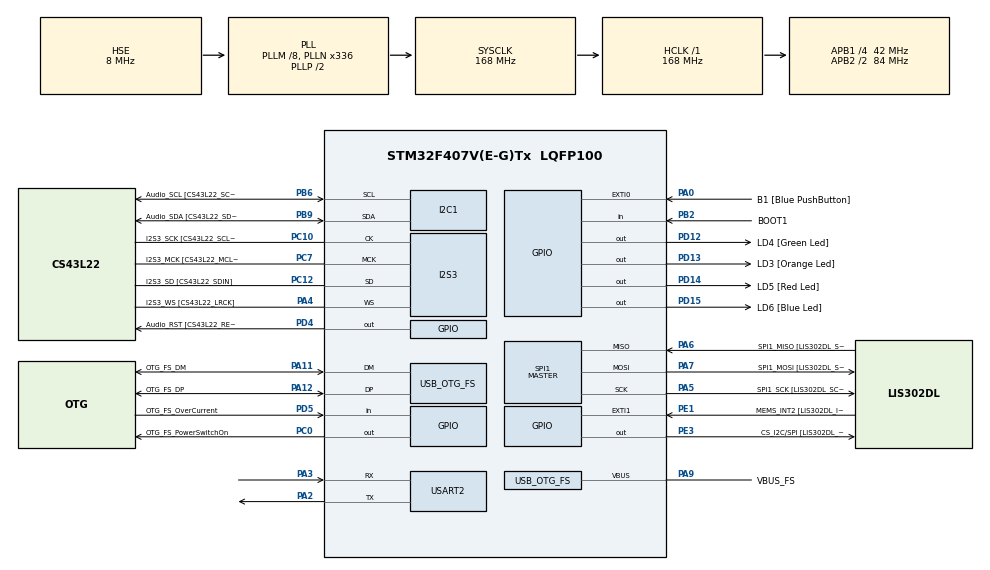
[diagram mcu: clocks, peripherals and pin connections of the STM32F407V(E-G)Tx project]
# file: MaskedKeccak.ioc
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I2S3.AudioFreq-Half_Duplex_Master=I2S_AUDIOFREQ_96K
I2S3.ErrorAudioFreq=-2.34 %
I2S3.ErrorAudioFreq-Half_Duplex_Master=0.8 %
I2S3.FullDuplexMode=I2S_FULLDUPLEXMODE_DISABLE
I2S3.Instance=SPI$Index
I2S3.RealAudioFreq=93.75 KHz
I2S3.RealAudioFreq-Half_Duplex_Master=96.774 KHz
I2S3.VirtualMode=I2S_MODE_MASTER
Mcu.Family=STM32F4
Mcu.Name=STM32F407V(E-G)Tx
Mcu.Package=LQFP100
NVIC.OTG_FS_IRQn=true\:0\:0\:false\:false\:true\:true\:true\:true
NVIC.PriorityGroup=NVIC_PRIORITYGROUP_0
PA0-WKUP.GPIO_Label=B1 [Blue PushButton]
PA0-WKUP.GPIO_ModeDefaultEXTI=GPIO_MODE_EVT_RISING
PA0-WKUP.GPIO_PuPd=GPIO_NOPULL
PA0-WKUP.Signal=GPXTI0
PA10.GPIO_Label=OTG_FS_ID
PA10.GPIO_Mode=GPIO_MODE_AF_PP
PA10.GPIO_PuPd=GPIO_NOPULL
PA10.GPIO_Speed=GPIO_SPEED_FREQ_LOW
PA10.Signal=USB_OTG_FS_ID
PA11.GPIO_Label=OTG_FS_DM
PA11.GPIO_Mode=GPIO_MODE_AF_PP
PA11.GPIO_PuPd=GPIO_NOPULL
PA11.GPIO_Speed=GPIO_SPEED_FREQ_LOW
PA11.Mode=Host_Only
PA11.Signal=USB_OTG_FS_DM
PA12.GPIO_Label=OTG_FS_DP
PA12.GPIO_Mode=GPIO_MODE_AF_PP
PA12.GPIO_PuPd=GPIO_NOPULL
PA12.GPIO_Speed=GPIO_SPEED_FREQ_LOW
PA12.Mode=Host_Only
PA12.Signal=USB_OTG_FS_DP
PA13.GPIO_Label=SWDIO
PA13.Mode=Serial_Wire
PA13.Signal=SYS_JTMS-SWDIO
PA14.GPIO_Label=SWCLK
PA14.Mode=Serial_Wire
PA14.Signal=SYS_JTCK-SWCLK
PA2.Mode=Asynchronous
PA2.Signal=USART2_TX
PA3.Mode=Asynchronous
PA3.Signal=USART2_RX
PA4.GPIO_Label=I2S3_WS [CS43L22_LRCK]
PA4.GPIO_Mode=GPIO_MODE_AF_PP
PA4.GPIO_PuPd=GPIO_NOPULL
PA4.GPIO_Speed=GPIO_SPEED_FREQ_LOW
PA4.Mode=Half_Duplex_Master
PA4.Signal=I2S3_WS
PA5.GPIO_Label=SPI1_SCK [LIS302DL_SCL/SPC]
PA5.GPIO_Mode=GPIO_MODE_AF_PP
PA5.GPIO_PuPd=GPIO_NOPULL
PA5.GPIO_Speed=GPIO_SPEED_FREQ_LOW
PA5.Mode=Full_Duplex_Master
PA5.Signal=SPI1_SCK
PA6.GPIO_Label=SPI1_MISO [LIS302DL_SDO]
PA6.GPIO_Mode=GPIO_MODE_AF_PP
PA6.GPIO_PuPd=GPIO_NOPULL
PA6.GPIO_Speed=GPIO_SPEED_FREQ_LOW
PA6.Mode=Full_Duplex_Master
PA6.Signal=SPI1_MISO
PA7.GPIO_Label=SPI1_MOSI [LIS302DL_SDA/SDI/SDO]
PA7.GPIO_Mode=GPIO_MODE_AF_PP
PA7.GPIO_PuPd=GPIO_NOPULL
PA7.GPIO_Speed=GPIO_SPEED_FREQ_LOW
PA7.Mode=Full_Duplex_Master
PA7.Signal=SPI1_MOSI
PA9.GPIO_Label=VBUS_FS
PA9.GPIO_Mode=GPIO_MODE_INPUT
PA9.GPIO_PuPd=GPIO_NOPULL
PA9.Mode=Activate_VBUS
PA9.Signal=USB_OTG_FS_VBUS
PB10.GPIO_Label=CLK_IN [MP45DT02_CLK]
PB10.GPIO_Mode=GPIO_MODE_AF_PP
PB10.GPIO_PuPd=GPIO_NOPULL
PB10.GPIO_Speed=GPIO_SPEED_FREQ_LOW
PB10.Signal=I2S2_CK
PB2.GPIO_Label=BOOT1
PB2.GPIO_Mode=GPIO_MODE_INPUT
PB2.GPIO_PuPd=GPIO_NOPULL
PB2.Signal=GPIO_Input
PB3.GPIO_Label=SWO
PB3.Signal=SYS_JTDO-SWO
PB6.GPIO_Label=Audio_SCL [CS43L22_SCL]
PB6.GPIO_Mode=GPIO_MODE_AF_OD
PB6.GPIO_Pu=GPIO_PULLUP
PB6.GPIO_PuPd=GPIO_NOPULL
PB6.GPIO_Speed=GPIO_SPEED_FREQ_LOW
PB6.Mode=I2C
PB6.Signal=I2C1_SCL
PB9.GPIO_Label=Audio_SDA [CS43L22_SDA]
PB9.GPIO_Mode=GPIO_MODE_AF_OD
PB9.GPIO_Pu=GPIO_PULLUP
PB9.GPIO_PuPd=GPIO_NOPULL
PB9.GPIO_Speed=GPIO_SPEED_FREQ_LOW
PB9.Mode=I2C
PB9.Signal=I2C1_SDA
PC0.GPIO_Label=OTG_FS_PowerSwitchOn
PC0.GPIO_PuPd=GPIO_NOPULL
PC0.GPIO_Speed=GPIO_SPEED_FREQ_LOW
PC0.PinState=GPIO_PIN_SET
PC0.Signal=GPIO_Output
PC10.GPIO_Label=I2S3_SCK [CS43L22_SCLK]
PC10.GPIO_Mode=GPIO_MODE_AF_PP
PC10.GPIO_PuPd=GPIO_NOPULL
PC10.GPIO_Speed=GPIO_SPEED_FREQ_LOW
PC10.Mode=Half_Duplex_Master
PC10.Signal=I2S3_CK
PC12.GPIO_Label=I2S3_SD [CS43L22_SDIN]
PC12.GPIO_Mode=GPIO_MODE_AF_PP
PC12.GPIO_PuPd=GPIO_NOPULL
PC12.GPIO_Speed=GPIO_SPEED_FREQ_LOW
PC12.Mode=Half_Duplex_Master
PC12.Signal=I2S3_SD
PC14-OSC32_IN.GPIO_Label=PC14-OSC32_IN
PC14-OSC32_IN.Mode=LSE-External-Oscillator
PC14-OSC32_IN.Signal=RCC_OSC32_IN
PC15-OSC32_OUT.GPIO_Label=PC15-OSC32_OUT
PC15-OSC32_OUT.Mode=LSE-External-Oscillator
PC15-OSC32_OUT.Signal=RCC_OSC32_OUT
PC3.GPIO_Label=PDM_OUT [MP45DT02_DOUT]
PC3.GPIO_Mode=GPIO_MODE_AF_PP
PC3.GPIO_PuPd=GPIO_NOPULL
PC3.GPIO_Speed=GPIO_SPEED_FREQ_LOW
PC3.Signal=I2S2_SD
PC7.GPIO_Label=I2S3_MCK [CS43L22_MCLK]
PC7.GPIO_Mode=GPIO_MODE_AF_PP
PC7.GPIO_PuPd=GPIO_NOPULL
PC7.GPIO_Speed=GPIO_SPEED_FREQ_LOW
PC7.Mode=Master_Clock_Activated
PC7.Signal=I2S3_MCK
PD12.GPIO_Label=LD4 [Green Led]
PD12.GPIO_PuPd=GPIO_NOPULL
PD12.GPIO_Speed=GPIO_SPEED_FREQ_LOW
PD12.Signal=GPIO_Output
PD13.GPIO_Label=LD3 [Orange Led]
PD13.GPIO_PuPd=GPIO_NOPULL
PD13.GPIO_Speed=GPIO_SPEED_FREQ_LOW
PD13.Signal=GPIO_Output
PD14.GPIO_Label=LD5 [Red Led]
PD14.GPIO_PuPd=GPIO_NOPULL
PD14.GPIO_Speed=GPIO_SPEED_FREQ_LOW
PD14.Signal=GPIO_Output
PD15.GPIO_Label=LD6 [Blue Led]
PD15.GPIO_PuPd=GPIO_NOPULL
PD15.GPIO_Speed=GPIO_SPEED_FREQ_LOW
PD15.Signal=GPIO_Output
PD4.GPIO_Label=Audio_RST [CS43L22_RESET]
PD4.GPIO_PuPd=GPIO_NOPULL
PD4.GPIO_Speed=GPIO_SPEED_FREQ_LOW
PD4.Signal=GPIO_Output
PD5.GPIO_Label=OTG_FS_OverCurrent
PD5.GPIO_Mode=GPIO_MODE_INPUT
PD5.GPIO_PuPd=GPIO_NOPULL
PD5.Signal=GPIO_Input
PE1.GPIO_Label=MEMS_INT2 [LIS302DL_INT2]
PE1.GPIO_ModeDefaultEXTI=GPIO_MODE_EVT_RISING
PE1.GPIO_PuPd=GPIO_NOPULL
PE1.Signal=GPXTI1
PE3.GPIO_Label=CS_I2C/SPI [LIS302DL_CS_I2C/SPI]
PE3.GPIO_PuPd=GPIO_NOPULL
PE3.GPIO_Speed=GPIO_SPEED_FREQ_LOW
PE3.Signal=GPIO_Output
PH0-OSC_IN.GPIO_Label=PH0-OSC_IN
PH0-OSC_IN.Mode=HSE-External-Oscillator
PH0-OSC_IN.Signal=RCC_OSC_IN
PH1-OSC_OUT.GPIO_Label=PH1-OSC_OUT
PH1-OSC_OUT.Mode=HSE-External-Oscillator
PH1-OSC_OUT.Signal=RCC_OSC_OUT
ProjectManager.HeapSize=0x200
ProjectManager.StackSize=0x400
ProjectManager.TargetToolchain=STM32CubeIDE
RCC.48MHZClocksFreq_Value=48000000
RCC.AHBFreq_Value=168000000
RCC.APB1CLKDivider=RCC_HCLK_DIV4
RCC.APB1Freq_Value=42000000
RCC.APB1TimFreq_Value=84000000
RCC.APB2CLKDivider=RCC_HCLK_DIV2
RCC.APB2Freq_Value=84000000
RCC.APB2TimFreq_Value=168000000
RCC.CortexFreq_Value=168000000
RCC.HCLKFreq_Value=168000000
RCC.HSE_VALUE=8000000
RCC.HSI_VALUE=16000000
RCC.PLLM=8
RCC.PLLN=336
RCC.PLLQ=7
RCC.SYSCLKFreq_VALUE=168000000
RCC.SYSCLKSource=RCC_SYSCLKSOURCE_PLLCLK
RCC.VCOOutputFreq_Value=336000000
SPI1.BaudRatePrescaler-Full_Duplex_Master=SPI_BAUDRATEPRESCALER_2
SPI1.CalculateBaudRate-Full_Duplex_Master=42.0 MBits/s
SPI1.Direction=SPI_DIRECTION_2LINES
SPI1.Mode=SPI_MODE_MASTER
SPI1.Mode-Full_Duplex_Master=SPI_MODE_MASTER
SPI1.VirtualType=VM_MASTER
USART2.VirtualMode=VM_ASYNC
USB_HOST.BSP.number=1
USB_HOST.USBH_HandleTypeDef-CDC_FS=hUsbHostFS
USB_HOST.VirtualModeFS=Cdc
USB_HOST0.BSP.STBoard=false
USB_HOST0.BSP.api=Unknown
USB_HOST0.BSP.instance=PC0
USB_HOST0.BSP.ip=GPIO
USB_HOST0.BSP.mode=Output
USB_HOST0.BSP.name=Drive_VBUS_FS
USB_HOST0.BSP.solution=PC0
USB_OTG_FS.VirtualMode=Host_Only
USB_OTG_FS.phy_itface=HCD_PHY_EMBEDDED
VP_RNG_VS_RNG.Mode=RNG_Activate
VP_USB_HOST_VS_USB_HOST_CDC_FS.Mode=CDC_FS
board=STM32F407G-DISC1

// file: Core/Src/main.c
/* USER CODE BEGIN Header */
/**
  ******************************************************************************
  * @file           : main.c
  * @brief          : Main program body
  ******************************************************************************
  * @attention
  *
  * Copyright (c) 2025 STMicroelectronics.
  * All rights reserved.
  *
  * This software is licensed under terms that can be found in the LICENSE file
  * in the root directory of this software component.
  * If no LICENSE file comes with this software, it is provided AS-IS.
  *
  ******************************************************************************
  */
/* USER CODE END Header */
#include "main.h"
#include "usb_host.h"
extern const uint64_t RC[24];

/* USER CODE BEGIN Includes */
#include "global_rng.h"
#include <string.h>
#include <stdio.h>
#include "masked_gadgets.h"
#include "keccak.h"
#include "sha_shake.h"
#include "test.h"
#include "global_rng.h"
/* USER CODE END Includes */

I2C_HandleTypeDef hi2c1;

I2S_HandleTypeDef hi2s3;

RNG_HandleTypeDef hrng;

SPI_HandleTypeDef hspi1;

UART_HandleTypeDef huart2;

void SystemClock_Config(void);
static void MX_GPIO_Init(void);
static void MX_I2C1_Init(void);
static void MX_I2S3_Init(void);
static void MX_SPI1_Init(void);
static void MX_RNG_Init(void);
static void MX_USART2_UART_Init(void);
void MX_USB_HOST_Process(void);

/* USER CODE BEGIN PFP */
int _write(int file, char *ptr, int len) {
    HAL_UART_Transmit(&huart2, (uint8_t*) ptr, len, HAL_MAX_DELAY);
    return len;
}

/* USER CODE END PFP */

/* USER CODE BEGIN 0 */
void print_hex(const char *label, const uint8_t *data, size_t len) {
    printf("%s: ", label);
    for (size_t i = 0; i < len; i++) {
        printf("%02X", data[i]);
    }
    printf("\n");
}

void print_masked_hex(const char *label, uint8_t data[64][MASKING_N]) {
    printf("%s: ", label);
    for (int i = 0; i < 64; i++) {
        uint8_t acc = data[i][0];
        for (int j = 1; j < MASKING_N; j++) {
            acc ^= data[i][j];
        }
        printf("%02X", acc);
    }
    printf("\n");
}
void print_u64(uint64_t val) {
    for (int i = 60; i >= 0; i -= 4) {
        uint8_t nibble = (val >> i) & 0xF;
        char c = (nibble < 10) ? ('0' + nibble) : ('A' + nibble - 10);
        HAL_UART_Transmit(&huart2, (uint8_t*)&c, 1, HAL_MAX_DELAY);
    }
    char newline = '\n';
    HAL_UART_Transmit(&huart2, (uint8_t*)&newline, 1, HAL_MAX_DELAY);
}

void fill_masked_state(masked_uint64_t dst[5][5], const uint64_t ref[25]) {
    for (int y = 0; y < 5; ++y) {
        for (int x = 0; x < 5; ++x) {
            uint64_t val = ref[y * 5 + x];
            uint64_t t = val;
            for (int i = 1; i < MASKING_N; ++i) {
                dst[x][y].share[i] = get_random64();
                t ^= dst[x][y].share[i];
            }
            dst[x][y].share[0] = t;
        }
    }
}

void fill_masked_state_arithmetic(masked_uint64_t dst[5][5], const uint64_t src[25]) {
    for (int y = 0; y < 5; ++y) {
        for (int x = 0; x < 5; ++x) {
            uint64_t acc = src[y * 5 + x];

            // Generate MASKING_N - 1 random shares
            for (int i = 0; i < MASKING_N - 1; ++i) {
                dst[x][y].share[i] = get_random64();
                acc -= dst[x][y].share[i];
            }

            // Last share ensures additive sum equals original value
            dst[x][y].share[MASKING_N - 1] = acc;
        }
    }
}

void recombine_masked_state(uint64_t dst[25], const masked_uint64_t src[5][5]) {
    for (int y = 0; y < 5; ++y)
        for (int x = 0; x < 5; ++x) {
            uint64_t val = 0;
            for (int i = 0; i < MASKING_N; ++i)
                val ^= src[x][y].share[i];
            dst[y * 5 + x] = val;
        }
}

void recombine_masked_state_arithmetic(uint64_t dst[25], const masked_uint64_t src[5][5]) {
    for (int y = 0; y < 5; ++y)
        for (int x = 0; x < 5; ++x) {
            uint64_t val = 0;
            for (int i = 0; i < MASKING_N; ++i)
                val += src[x][y].share[i];  // arithmetic recombination
            dst[y * 5 + x] = val;
        }
}

void print_diff(const char *label, const uint64_t *ref, const uint64_t *masked) {
    int fail = 0;
    for (int i = 0; i < 25; ++i) {
        if (ref[i] != masked[i]) {
            uint32_t rh = ref[i] >> 32, rl = ref[i] & 0xFFFFFFFF;
            uint32_t mh = masked[i] >> 32, ml = masked[i] & 0xFFFFFFFF;
            printf("Mismatch %s[%d]: ref = %08lX%08lX, masked = %08lX%08lX\n",
                   label, i,
                   (unsigned long)rh, (unsigned long)rl,
                   (unsigned long)mh, (unsigned long)ml);
            fail++;
        }
    }
    if (fail == 0) {
        printf("SUCCESS: %s output matched reference.\n", label);
    }
}

void test_masked_vs_reference_step_by_step(void) {
    // === 1. Initial state setup ===
    uint64_t ref_state[25];
    for (int i = 0; i < 25; i++)
        ref_state[i] = i * 0x0F0F0F0F0F0F0F0FULL;

    masked_uint64_t masked_state[5][5];
    fill_masked_state(masked_state, ref_state);

    uint64_t tmp_ref[25], tmp_masked[25];

    // === 2. THETA ===
    memcpy(tmp_ref, ref_state, sizeof(ref_state));
    theta(tmp_ref);

    masked_theta(masked_state);
    recombine_masked_state(tmp_masked, masked_state);
    print_diff("THETA", tmp_ref, tmp_masked);

    // === 3. RHO ===
    memcpy(tmp_ref, tmp_masked, sizeof(tmp_masked)); // set ref = masked out
    rho(tmp_ref);

    masked_rho(masked_state);
    recombine_masked_state(tmp_masked, masked_state);
    print_diff("RHO", tmp_ref, tmp_masked);

    // === 4. PI ===
    memcpy(tmp_ref, tmp_masked, sizeof(tmp_masked));
    pi(tmp_ref);

    masked_pi(masked_state);
    recombine_masked_state(tmp_masked, masked_state);
    print_diff("PI", tmp_ref, tmp_masked);

    int round_idx = 0;
    // === 5. CHI ===
    // === 5. CHI ===
    memcpy(tmp_ref, tmp_masked, sizeof(tmp_masked));
    chi(tmp_ref);

    uint64_t r_chi[5][5][MASKING_N][MASKING_N];
    for (int y = 0; y < 5; ++y)
        for (int x = 0; x < 5; ++x)
            fill_random_matrix(r_chi[x][y]);

    masked_uint64_t chi_out[5][5];
    masked_chi(chi_out, masked_state, r_chi);

    // === 6. IOTA ===
    // Apply IOTA to both the reference and the masked CHI result
    iota(tmp_ref, round_idx);
    masked_iota(chi_out, RC[round_idx]);

    // Recombine the masked state AFTER both steps
    recombine_masked_state(tmp_masked, chi_out);

    // Compare both sides now that they're at the same stage
    print_diff("IOTA", tmp_ref, tmp_masked);

}

void test_masked_vs_reference_step_by_step_arithmetic(void) {
    // === 1. Initial state setup ===
    uint64_t ref_state[25];
    for (int i = 0; i < 25; i++)
        ref_state[i] = i * 0x0F0F0F0F0F0F0F0FULL;

    masked_uint64_t masked_state[5][5];
    fill_masked_state_arithmetic(masked_state, ref_state);

    uint64_t tmp_ref[25], tmp_masked[25];

    // === 2. THETA ===
    memcpy(tmp_ref, ref_state, sizeof(ref_state));
    theta(tmp_ref);

    masked_theta_arithmetic(masked_state);
    recombine_masked_state_arithmetic(tmp_masked, masked_state);
    print_diff("THETA-ARITH", tmp_ref, tmp_masked);

    // === 3. RHO ===
    memcpy(tmp_ref, tmp_masked, sizeof(tmp_masked));
    rho(tmp_ref);

    masked_rho_arithmetic(masked_state);
    recombine_masked_state_arithmetic(tmp_masked, masked_state);
    print_diff("RHO-ARITH", tmp_ref, tmp_masked);

    // === 4. PI ===
    memcpy(tmp_ref, tmp_masked, sizeof(tmp_masked));
    pi(tmp_ref);

    masked_pi_arithmetic(masked_state);
    recombine_masked_state_arithmetic(tmp_masked, masked_state);
    print_diff("PI-ARITH", tmp_ref, tmp_masked);

    int round_idx = 0;

    // === 5. CHI ===
    memcpy(tmp_ref, tmp_masked, sizeof(tmp_masked));
    chi(tmp_ref);

    uint64_t r_chi[5][5][MASKING_N][MASKING_N];
    for (int y = 0; y < 5; ++y)
        for (int x = 0; x < 5; ++x)
            fill_random_matrix(r_chi[x][y]);

    masked_uint64_t chi_out[5][5];
    masked_chi_arithmetic(chi_out, masked_state, r_chi);

    // === 6. IOTA ===
    iota(tmp_ref, round_idx);
    masked_iota_arithmetic(chi_out, RC[round_idx]);

    recombine_masked_state_arithmetic(tmp_masked, chi_out);
    print_diff("IOTA-ARITH", tmp_ref, tmp_masked);
}

static void masked_round(masked_uint64_t S[5][5],
                         int r,
                         uint64_t Rchi[5][5][MASKING_N][MASKING_N])
{
    masked_theta(S);
    masked_rho  (S);
    masked_pi   (S);
    uint64_t r_chi[5][5][MASKING_N][MASKING_N];
      for (int y = 0; y < 5; ++y)
          for (int x = 0; x < 5; ++x)
              fill_random_matrix(r_chi[x][y]);

      masked_uint64_t chi_out[5][5];
      masked_chi(chi_out, S, r_chi);
      masked_iota (chi_out, RC[r]);

      for (int y = 0; y < 5; ++y)
          for (int x = 0; x < 5; ++x)
              S[x][y] = chi_out[x][y];
}

static void reference_round(uint64_t *A, int r)
{
    theta(A);
    rho  (A);
    pi   (A);
    chi  (A);
    iota (A, r);
}

void test_full_keccak_rounds(void)
{
    /* --- 1. fresh deterministic state -------------------------------- */
    uint64_t ref[25];
    for (int i=0;i<25;i++)
        ref[i] = 0x1111111111111111ULL * (i+1);   /* any pattern is fine */

    masked_uint64_t mstate[5][5];
    fill_masked_state(mstate, ref);

    /* --- 2. run every round ------------------------------------------ */
    for (int r = 0; r < 24; ++r) {

        /* randomness for χ – new every round, every lane --------------- */
        uint64_t Rchi[5][5][MASKING_N][MASKING_N];
        for (int y = 0; y < 5; ++y)
            for (int x = 0; x < 5; ++x)
                fill_random_matrix(Rchi[x][y]);

        reference_round(ref, r);
        masked_round(mstate, r, Rchi);

        uint64_t recon[25];
        recombine_masked_state(recon, mstate);

        /* --- 3. compare lane by lane --------------------------------- */
        int fail = 0;
        for (int i = 0; i < 25; ++i) {
            if (recon[i] != ref[i]) {
                printf("Round %2d lane %2d : ref=%016llX  mask=%016llX\n",
                       r, i,
                       (unsigned long long)ref[i],
                       (unsigned long long)recon[i]);
                fail = 1;
            }
        }
        if (fail) {
            printf("✗ round %d FAILED – stop early\n\n", r);
            return;
        }
    }

    printf("✓ all 24 masked rounds match reference Keccak-F[1600]\n");
}
void test_masked_keccak_round_arithmetic_vs_reference(void) {
    // === 1. Setup known input ===
    uint64_t ref_state[25];
    for (int i = 0; i < 25; i++)
        ref_state[i] = i * 0x0101010101010101ULL;

    masked_uint64_t masked_state[5][5];
    fill_masked_state_arithmetic(masked_state, ref_state);

    uint64_t tmp_ref[25], tmp_masked[25];

    // === 2. Apply reference round ===
    memcpy(tmp_ref, ref_state, sizeof(ref_state));
    theta(tmp_ref);
    rho(tmp_ref);
    pi(tmp_ref);
    chi(tmp_ref);
    iota(tmp_ref, 0);

    // === 3. Apply masked round (additive domain) ===
    masked_keccak_round_arithmetic(masked_state, RC[0]);
    recombine_masked_state_arithmetic(tmp_masked, masked_state);

    // === 4. Compare ===
    print_diff("Keccak-Round-Arithmetic", tmp_ref, tmp_masked);
}

void test_masked_keccak_round_vs_reference(void) {
    // === 1. Setup known input ===
    uint64_t ref_state[25];
    for (int i = 0; i < 25; i++)
        ref_state[i] = i * 0x0101010101010101ULL;

    masked_uint64_t masked_state[5][5];
    fill_masked_state(masked_state, ref_state);

    uint64_t tmp_ref[25], tmp_masked[25];

    // === 2. Apply reference round ===
    memcpy(tmp_ref, ref_state, sizeof(ref_state));
    theta(tmp_ref);
    rho(tmp_ref);
    pi(tmp_ref);
    chi(tmp_ref);
    iota(tmp_ref, 0);

    // === 3. Apply masked round ===
    masked_keccak_round(masked_state, RC[0]);
    recombine_masked_state(tmp_masked, masked_state);

    // === 4. Compare ===
    print_diff("Keccak-Round", tmp_ref, tmp_masked);
}
extern int TWOFIVESIX(uint8_t* M, int l, uint8_t* O);
extern int FIVEONETWO(uint8_t* M, int l, uint8_t* O);

void test_masked_vs_reference_sha3_256(void) {
    const char *msg = "Masked Keccak Test Vector: SHA3-256";
    size_t len = strlen(msg);

    uint8_t ref_out[32];
    uint8_t masked_out[32];

    // Call reference implementation
    TWOFIVESIX((uint8_t *)msg, (int)len, ref_out);

    // Call masked implementation
    masked_sha3_256(masked_out, (const uint8_t *)msg, len);

    // Compare output
    for (int i = 0; i < 32; ++i) {
        if (ref_out[i] != masked_out[i]) {
            printf("Mismatch SHA3-256 byte[%d]: ref=0x%02X, masked=0x%02X\n",
                   i, ref_out[i], masked_out[i]);
            assert(0);
        }
    }
    printf("PASS: SHA3-256 masked output matches reference\n");
}

void test_masked_vs_reference_sha3_512(void) {
    const char *msg = "Masked Keccak Test Vector: SHA3-512";
    size_t len = strlen(msg);

    uint8_t ref_out[64];
    uint8_t masked_out[64];

    // Call reference implementation
    FIVEONETWO((uint8_t *)msg, (int)len, ref_out);

    // Call masked implementation
    masked_sha3_512(masked_out, (const uint8_t *)msg, len);

    for (int i = 0; i < 64; ++i) {
        if (ref_out[i] != masked_out[i]) {
            printf("Mismatch SHA3-512 byte[%d]: ref=0x%02X, masked=0x%02X\n",
                   i, ref_out[i], masked_out[i]);
            assert(0);
        }
    }
    printf("PASS: SHA3-512 masked output matches reference\n");
}

void boolean_mask(uint64_t out[MASKING_N], uint64_t value) {
    uint64_t tmp = value;
    for (int i = 0; i < MASKING_N - 1; i++) {
        out[i] = get_random64();  // MUST produce unique value each time
        tmp ^= out[i];
    }
    out[MASKING_N - 1] = tmp;  // Final share fixes the XOR
}

void refresh_xor_partial(uint64_t *shares, size_t n) {
    uint64_t acc = 0;
    for (size_t i = 0; i < n - 1; i++) {
        uint64_t r = get_random64();
        shares[i] ^= r;
        acc ^= r;
    }
    shares[n - 1] ^= acc;
}

void refresh_xor(uint64_t shares[MASKING_N]) {
    uint64_t before = 0;
    for (int i = 0; i < MASKING_N; i++) {
        before ^= shares[i];
    }

    uint64_t acc = 0;
    for (int i = 0; i < MASKING_N - 1; i++) {
        uint64_t r = get_random64();
        shares[i] ^= r;
        acc ^= r;
    }
    shares[MASKING_N - 1] ^= acc;

    uint64_t after = 0;
    for (int i = 0; i < MASKING_N; i++) {
        after ^= shares[i];
    }

    if (before != after) {
        // Print and hard fail
        printf("!!! refresh_xor broke the XOR !!!\n");
        printf("Before: %lu, After: %lu\n", (uint32_t)before, (uint32_t)after);
        for (int i = 0; i < MASKING_N; i++) {
            printf("shares[%d] = %lu\n", i, (uint32_t)shares[i]);
        }
        while (1);
    }
}

void test_refresh_xor(uint64_t x) {
    uint64_t shares[MASKING_N];
    boolean_mask(shares, x);

    printf("Before refresh:\n");
    for (int i = 0; i < MASKING_N; i++) printf("  [%d] = %lu\n", i, shares[i]);

    refresh_xor(shares);

    uint64_t recovered = 0;
    for (int i = 0; i < MASKING_N; i++) {
        recovered ^= shares[i];
    }

    printf("After refresh:\n");
    for (int i = 0; i < MASKING_N; i++) printf("  [%d] = %lu\n", i, shares[i]);

    printf("Recovered after refresh: 0x%08lx%08lx\n",
           (uint32_t)(recovered >> 32),
           (uint32_t)(recovered & 0xFFFFFFFF));

}
void SecAddModp(uint64_t out[MASKING_N],
                const uint64_t a[MASKING_N],
                const uint64_t b[MASKING_N],
                uint64_t q) {
    if (q == 0) {
        while (1) {}  // hard fault: invalid modulus
    }

    uint64_t x = 0, y_val = 0;
    for (int i = 0; i < MASKING_N; i++) {
        x ^= a[i];
        y_val ^= b[i];
    }

    uint64_t result = (x + y_val) % q;
    boolean_mask(out, result);
}

void test_sec_add_modp(uint64_t x, uint64_t y, uint64_t q) {
    uint64_t a[MASKING_N], b[MASKING_N], result[MASKING_N];

    boolean_mask(a, x);
    boolean_mask(b, y);

    SecAddModp(result, a, b, q);

    uint64_t recovered = 0;
    for (int i = 0; i < MASKING_N; i++) {
        recovered ^= result[i];
    }

    printf("x = %lu, y = %lu, (x+y mod %lu) = %lu\n",
           (uint32_t)x, (uint32_t)y, (uint32_t)q, (uint32_t)recovered);

}

void test_boolean_mask(uint64_t x) {
    uint64_t shares[MASKING_N];
    boolean_mask(shares, x);

    uint64_t recovered = 0;
    for (int i = 0; i < MASKING_N; i++) {
        recovered ^= shares[i];
    }

    printf("Original: %lu, Recovered: %lu\n", x, recovered);
}

void SecA2Bq_debug(uint64_t *out, const uint64_t *in, size_t n, uint64_t q) {
    if (n == 1) {
        out[0] = in[0] % q;
        for (size_t i = 1; i < MASKING_N; i++) out[i] = 0;
        return;
    }

    size_t half = n / 2;

    uint64_t y[MASKING_N] = {0};
    uint64_t z[MASKING_N] = {0};

    SecA2Bq_debug(y, in, half, q);
    SecA2Bq_debug(z, in + half, n - half, q);

    refresh_xor_partial(y, half);
    refresh_xor_partial(z, n - half);

    SecAddModp(out, y, z, q);
}

void test_SecA2Bq(uint64_t x, uint64_t q) {
    masked_uint64_t A = {0};
    uint64_t result[MASKING_N] = {0};

    // Create arithmetic sharing of x mod q
    uint64_t sum = 0;
    for (int i = 0; i < MASKING_N - 1; i++) {
        A.share[i] = get_random64() % q;
        sum = (sum + A.share[i]) % q;
    }
    A.share[MASKING_N - 1] = (x + q - sum) % q;

    // ✅ Call SecA2Bq_debug with correct arguments
    SecA2Bq_debug(result, A.share, MASKING_N, q);

    // Recombine Boolean result
    uint64_t recombined = 0;
    for (int i = 0; i < MASKING_N; i++) {
        recombined ^= result[i];
    }

    // Check result
    if (recombined != (x % q)) {
        printf("FAIL: A2B x = %lu, recovered = %lu\n", (uint32_t)x, (uint32_t)recombined);
        while (1);
    } else {
        printf("PASS: A2B x = %lu\n", (uint32_t)x);
    }
}

void SecB2Aq(uint64_t *out, const uint64_t *in, size_t n, uint64_t q) {
    // Recombine Boolean value
    uint64_t x = in[0];
    for (size_t i = 1; i < n; i++) {
        x ^= in[i];  // Full 64-bit XOR
    }

    x = x % q;  // Properly reduce into F_q

    // Generate additive shares of x in F_q
    uint64_t sum = 0;
    for (size_t i = 0; i < n - 1; i++) {
        out[i] = get_random64() % q;
        sum = (sum + out[i]) % q;
    }
    out[n - 1] = (x + q - sum) % q;
}

void test_SecB2Aq(uint64_t x, uint64_t q) {
    uint64_t bshares[MASKING_N] = {0};
    uint64_t ashare[MASKING_N] = {0};

    // Boolean mask the input
    boolean_mask(bshares, x);

    uint64_t bsum = 0;
    for (int i = 0; i < MASKING_N; i++) {
        bsum ^= bshares[i];
    }
    printf("Boolean recombined value: %lu (0x%llx)\n", bsum, bsum);

    // Convert to arithmetic masking
    SecB2Aq(ashare, bshares, MASKING_N, q);

    // Recombine arithmetic result
    uint64_t sum = 0;
    for (int i = 0; i < MASKING_N; i++) {
        sum = (sum + ashare[i]) % q;
    }

    if (sum != (x % q)) {
        printf("FAIL: B2A x = %lu, recovered = %lu\n", (uint32_t)x, (uint32_t)sum);
        while (1);
    } else {
        printf("PASS: B2A x = %lu\n", (uint32_t)x);
    }
}

// A → B → A should preserve input
void test_roundtrip(uint64_t x, uint64_t q) {
    masked_uint64_t A = {0};
    uint64_t bshares[MASKING_N] = {0};
    uint64_t ashare2[MASKING_N] = {0};

    // Arithmetic mask
    uint64_t sum = 0;
    for (int i = 0; i < MASKING_N - 1; i++) {
        A.share[i] = get_random64() % q;
        sum = (sum + A.share[i]) % q;
    }
    A.share[MASKING_N - 1] = (x + q - sum) % q;

    // A → B
    SecA2Bq_debug(bshares, A.share, MASKING_N, q);

    // B → A
    SecB2Aq(ashare2, bshares, MASKING_N, q);

    uint64_t final = 0;
    for (int i = 0; i < MASKING_N; i++) {
        final = (final + ashare2[i]) % q;
    }

    if (final != (x % q)) {
        printf("FAIL: roundtrip x = %lu, final = %lu\n", (uint32_t)x, (uint32_t)final);
        while (1);
    } else {
        printf("PASS: roundtrip x = %lu\n", (uint32_t)x);
    }
}

#define KYBER_Q 3329
int main(void)
{

  /* MCU Configuration--------------------------------------------------------*/

  /* Reset of all peripherals, Initializes the Flash interface and the Systick. */
  HAL_Init();

  /* Configure the system clock */
  SystemClock_Config();

  /* Initialize all configured peripherals */
  MX_GPIO_Init();
  MX_I2C1_Init();
  MX_I2S3_Init();
  MX_SPI1_Init();
  MX_USB_HOST_Init();
  MX_RNG_Init();
  MX_USART2_UART_Init();

  /* USER CODE BEGIN 2 */
  __HAL_RCC_RNG_CLK_ENABLE();
  HAL_RNG_Init(&hrng);
  setvbuf(stdout, NULL, _IONBF, 0); // Disable buffering completely

  /* USER CODE END 2 */

  /* Infinite loop */
  /* USER CODE BEGIN WHILE */
  while (1)
  {
	  test_roundtrip(0, 3329);
	  test_roundtrip(1, 3329);
	  test_roundtrip(2, 3329);
	  test_roundtrip(123, 3329);
	  test_roundtrip(456, 3329);
	  test_roundtrip(2048, 3329);
	  test_roundtrip(3328, 3329);
	  test_roundtrip(3329 + 1, 3329); // x ≡ 1 mod q
	  test_roundtrip(6658, 3329);    // x ≡ 0 mod q again
	  test_roundtrip(UINT64_MAX, 3329); // large x

	  //test_masked_vs_reference_step_by_step_arithmetic();
	  /*
	  test_masked_vs_reference_step_by_step();
	  test_full_keccak_rounds();
	  test_masked_keccak_round_vs_reference();
	    test_masked_vs_reference_sha3_256();
	    test_masked_vs_reference_sha3_512();
	    test_kat_sha3_all();
	    */

	  /*}
	  const uint8_t input[] = "MaskedKeccakTest";
	     uint8_t unmasked_output[64];
	     uint8_t masked_output[64][MASKING_N];

	     // Call reference unmasked SHA3-512
	     sha3_512(unmasked_output, input, strlen((const char *)input));

	     // Call masked SHA3-512
	     masked_sha3_512(masked_output, input, strlen((const char *)input));

	     // Print results
	     print_hex("SHA3-512 (Unmasked)", unmasked_output, 64);
	     print_masked_hex("SHA3-512 (Masked)", masked_output);
	     */
    /* USER CODE END WHILE */
    MX_USB_HOST_Process();

  }
}

void SystemClock_Config(void)
{
  RCC_OscInitTypeDef RCC_OscInitStruct = {0};
  RCC_ClkInitTypeDef RCC_ClkInitStruct = {0};

  /** Configure the main internal regulator output voltage
  */
  __HAL_RCC_PWR_CLK_ENABLE();
  __HAL_PWR_VOLTAGESCALING_CONFIG(PWR_REGULATOR_VOLTAGE_SCALE1);

  /** Initializes the RCC Oscillators according to the specified parameters
  * in the RCC_OscInitTypeDef structure.
  */
  RCC_OscInitStruct.OscillatorType = RCC_OSCILLATORTYPE_HSE;
  RCC_OscInitStruct.HSEState = RCC_HSE_ON;
  RCC_OscInitStruct.PLL.PLLState = RCC_PLL_ON;
  RCC_OscInitStruct.PLL.PLLSource = RCC_PLLSOURCE_HSE;
  RCC_OscInitStruct.PLL.PLLM = 8;
  RCC_OscInitStruct.PLL.PLLN = 336;
  RCC_OscInitStruct.PLL.PLLP = RCC_PLLP_DIV2;
  RCC_OscInitStruct.PLL.PLLQ = 7;
  if (HAL_RCC_OscConfig(&RCC_OscInitStruct) != HAL_OK)
  {
    Error_Handler();
  }

  /** Initializes the CPU, AHB and APB buses clocks
  */
  RCC_ClkInitStruct.ClockType = RCC_CLOCKTYPE_HCLK|RCC_CLOCKTYPE_SYSCLK
                              |RCC_CLOCKTYPE_PCLK1|RCC_CLOCKTYPE_PCLK2;
  RCC_ClkInitStruct.SYSCLKSource = RCC_SYSCLKSOURCE_PLLCLK;
  RCC_ClkInitStruct.AHBCLKDivider = RCC_SYSCLK_DIV1;
  RCC_ClkInitStruct.APB1CLKDivider = RCC_HCLK_DIV4;
  RCC_ClkInitStruct.APB2CLKDivider = RCC_HCLK_DIV2;

  if (HAL_RCC_ClockConfig(&RCC_ClkInitStruct, FLASH_LATENCY_5) != HAL_OK)
  {
    Error_Handler();
  }
}

static void MX_I2C1_Init(void)
{

  hi2c1.Instance = I2C1;
  hi2c1.Init.ClockSpeed = 100000;
  hi2c1.Init.DutyCycle = I2C_DUTYCYCLE_2;
  hi2c1.Init.OwnAddress1 = 0;
  hi2c1.Init.AddressingMode = I2C_ADDRESSINGMODE_7BIT;
  hi2c1.Init.DualAddressMode = I2C_DUALADDRESS_DISABLE;
  hi2c1.Init.OwnAddress2 = 0;
  hi2c1.Init.GeneralCallMode = I2C_GENERALCALL_DISABLE;
  hi2c1.Init.NoStretchMode = I2C_NOSTRETCH_DISABLE;
  if (HAL_I2C_Init(&hi2c1) != HAL_OK)
  {
    Error_Handler();
  }

}

static void MX_I2S3_Init(void)
{

  hi2s3.Instance = SPI3;
  hi2s3.Init.Mode = I2S_MODE_MASTER_TX;
  hi2s3.Init.Standard = I2S_STANDARD_PHILIPS;
  hi2s3.Init.DataFormat = I2S_DATAFORMAT_16B;
  hi2s3.Init.MCLKOutput = I2S_MCLKOUTPUT_ENABLE;
  hi2s3.Init.AudioFreq = I2S_AUDIOFREQ_96K;
  hi2s3.Init.CPOL = I2S_CPOL_LOW;
  hi2s3.Init.ClockSource = I2S_CLOCK_PLL;
  hi2s3.Init.FullDuplexMode = I2S_FULLDUPLEXMODE_DISABLE;
  if (HAL_I2S_Init(&hi2s3) != HAL_OK)
  {
    Error_Handler();
  }

}

static void MX_RNG_Init(void)
{

  hrng.Instance = RNG;
  if (HAL_RNG_Init(&hrng) != HAL_OK)
  {
    Error_Handler();
  }

}

static void MX_SPI1_Init(void)
{

  /* SPI1 parameter configuration*/
  hspi1.Instance = SPI1;
  hspi1.Init.Mode = SPI_MODE_MASTER;
  hspi1.Init.Direction = SPI_DIRECTION_2LINES;
  hspi1.Init.DataSize = SPI_DATASIZE_8BIT;
  hspi1.Init.CLKPolarity = SPI_POLARITY_LOW;
  hspi1.Init.CLKPhase = SPI_PHASE_1EDGE;
  hspi1.Init.NSS = SPI_NSS_SOFT;
  hspi1.Init.BaudRatePrescaler = SPI_BAUDRATEPRESCALER_2;
  hspi1.Init.FirstBit = SPI_FIRSTBIT_MSB;
  hspi1.Init.TIMode = SPI_TIMODE_DISABLE;
  hspi1.Init.CRCCalculation = SPI_CRCCALCULATION_DISABLE;
  hspi1.Init.CRCPolynomial = 10;
  if (HAL_SPI_Init(&hspi1) != HAL_OK)
  {
    Error_Handler();
  }

}

static void MX_USART2_UART_Init(void)
{

  huart2.Instance = USART2;
  huart2.Init.BaudRate = 115200;
  huart2.Init.WordLength = UART_WORDLENGTH_8B;
  huart2.Init.StopBits = UART_STOPBITS_1;
  huart2.Init.Parity = UART_PARITY_NONE;
  huart2.Init.Mode = UART_MODE_TX_RX;
  huart2.Init.HwFlowCtl = UART_HWCONTROL_NONE;
  huart2.Init.OverSampling = UART_OVERSAMPLING_16;
  if (HAL_UART_Init(&huart2) != HAL_OK)
  {
    Error_Handler();
  }

}

static void MX_GPIO_Init(void)
{
  GPIO_InitTypeDef GPIO_InitStruct = {0};

  /* GPIO Ports Clock Enable */
  __HAL_RCC_GPIOE_CLK_ENABLE();
  __HAL_RCC_GPIOC_CLK_ENABLE();
  __HAL_RCC_GPIOH_CLK_ENABLE();
  __HAL_RCC_GPIOA_CLK_ENABLE();
  __HAL_RCC_GPIOB_CLK_ENABLE();
  __HAL_RCC_GPIOD_CLK_ENABLE();

  /*Configure GPIO pin Output Level */
  HAL_GPIO_WritePin(CS_I2C_SPI_GPIO_Port, CS_I2C_SPI_Pin, GPIO_PIN_RESET);

  /*Configure GPIO pin Output Level */
  HAL_GPIO_WritePin(OTG_FS_PowerSwitchOn_GPIO_Port, OTG_FS_PowerSwitchOn_Pin, GPIO_PIN_SET);

  /*Configure GPIO pin Output Level */
  HAL_GPIO_WritePin(GPIOD, LD4_Pin|LD3_Pin|LD5_Pin|LD6_Pin
                          |Audio_RST_Pin, GPIO_PIN_RESET);

  /*Configure GPIO pin : CS_I2C_SPI_Pin */
  GPIO_InitStruct.Pin = CS_I2C_SPI_Pin;
  GPIO_InitStruct.Mode = GPIO_MODE_OUTPUT_PP;
  GPIO_InitStruct.Pull = GPIO_NOPULL;
  GPIO_InitStruct.Speed = GPIO_SPEED_FREQ_LOW;
  HAL_GPIO_Init(CS_I2C_SPI_GPIO_Port, &GPIO_InitStruct);

  /*Configure GPIO pin : OTG_FS_PowerSwitchOn_Pin */
  GPIO_InitStruct.Pin = OTG_FS_PowerSwitchOn_Pin;
  GPIO_InitStruct.Mode = GPIO_MODE_OUTPUT_PP;
  GPIO_InitStruct.Pull = GPIO_NOPULL;
  GPIO_InitStruct.Speed = GPIO_SPEED_FREQ_LOW;
  HAL_GPIO_Init(OTG_FS_PowerSwitchOn_GPIO_Port, &GPIO_InitStruct);

  /*Configure GPIO pin : PDM_OUT_Pin */
  GPIO_InitStruct.Pin = PDM_OUT_Pin;
  GPIO_InitStruct.Mode = GPIO_MODE_AF_PP;
  GPIO_InitStruct.Pull = GPIO_NOPULL;
  GPIO_InitStruct.Speed = GPIO_SPEED_FREQ_LOW;
  GPIO_InitStruct.Alternate = GPIO_AF5_SPI2;
  HAL_GPIO_Init(PDM_OUT_GPIO_Port, &GPIO_InitStruct);

  /*Configure GPIO pin : B1_Pin */
  GPIO_InitStruct.Pin = B1_Pin;
  GPIO_InitStruct.Mode = GPIO_MODE_EVT_RISING;
  GPIO_InitStruct.Pull = GPIO_NOPULL;
  HAL_GPIO_Init(B1_GPIO_Port, &GPIO_InitStruct);

  /*Configure GPIO pin : BOOT1_Pin */
  GPIO_InitStruct.Pin = BOOT1_Pin;
  GPIO_InitStruct.Mode = GPIO_MODE_INPUT;
  GPIO_InitStruct.Pull = GPIO_NOPULL;
  HAL_GPIO_Init(BOOT1_GPIO_Port, &GPIO_InitStruct);

  /*Configure GPIO pin : CLK_IN_Pin */
  GPIO_InitStruct.Pin = CLK_IN_Pin;
  GPIO_InitStruct.Mode = GPIO_MODE_AF_PP;
  GPIO_InitStruct.Pull = GPIO_NOPULL;
  GPIO_InitStruct.Speed = GPIO_SPEED_FREQ_LOW;
  GPIO_InitStruct.Alternate = GPIO_AF5_SPI2;
  HAL_GPIO_Init(CLK_IN_GPIO_Port, &GPIO_InitStruct);

  /*Configure GPIO pins : LD4_Pin LD3_Pin LD5_Pin LD6_Pin
                           Audio_RST_Pin */
  GPIO_InitStruct.Pin = LD4_Pin|LD3_Pin|LD5_Pin|LD6_Pin
                          |Audio_RST_Pin;
  GPIO_InitStruct.Mode = GPIO_MODE_OUTPUT_PP;
  GPIO_InitStruct.Pull = GPIO_NOPULL;
  GPIO_InitStruct.Speed = GPIO_SPEED_FREQ_LOW;
  HAL_GPIO_Init(GPIOD, &GPIO_InitStruct);

  /*Configure GPIO pin : OTG_FS_OverCurrent_Pin */
  GPIO_InitStruct.Pin = OTG_FS_OverCurrent_Pin;
  GPIO_InitStruct.Mode = GPIO_MODE_INPUT;
  GPIO_InitStruct.Pull = GPIO_NOPULL;
  HAL_GPIO_Init(OTG_FS_OverCurrent_GPIO_Port, &GPIO_InitStruct);

  /*Configure GPIO pin : MEMS_INT2_Pin */
  GPIO_InitStruct.Pin = MEMS_INT2_Pin;
  GPIO_InitStruct.Mode = GPIO_MODE_EVT_RISING;
  GPIO_InitStruct.Pull = GPIO_NOPULL;
  HAL_GPIO_Init(MEMS_INT2_GPIO_Port, &GPIO_InitStruct);

}

void Error_Handler(void)
{
  __disable_irq();
  while (1)
  {
  }
}
